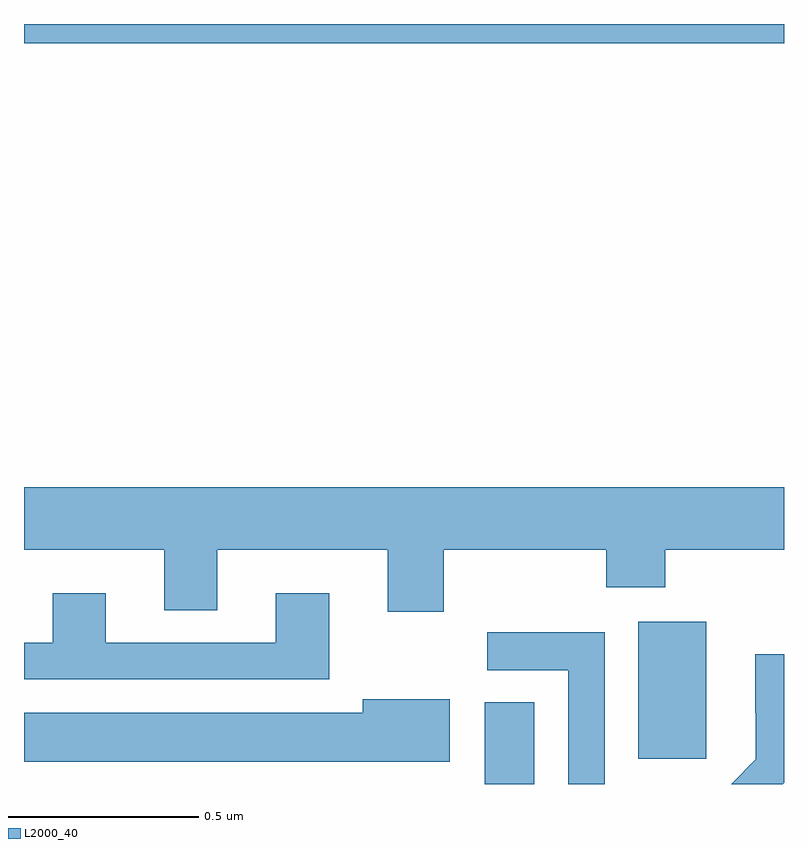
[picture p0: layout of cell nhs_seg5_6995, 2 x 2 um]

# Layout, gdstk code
import gdstk
lib = gdstk.Library(unit=1e-6, precision=1e-09)
def R(c, l, rs):  # rectangles x0, y0, x1, y1
    for r in rs: c.add(gdstk.rectangle(r[:2], r[2:], *l))
def P(c, l, *ps):  # polygons
    for p in ps: c.add(gdstk.Polygon(p, *l))
L2000_40 = (2000, 40)

nhs_seg5_6995 = lib.new_cell('nhs_seg5_6995')
R(nhs_seg5_6995, L2000_40, [(204.212,866.799,204.343,867.014), (204.617,866.865,204.796,867.226), (203,868.748,205,868.799)])
P(nhs_seg5_6995, L2000_40, [(204.105,867.416),(204.532,867.416),(204.532,867.317),(204.687,867.317),(204.687,867.416),(205,867.416),(205,867.58),(203,867.58),(203,867.416),(203.369,867.416),(203.369,867.256),(203.509,867.256),(203.509,867.416),(203.957,867.416),(203.957,867.252),(204.105,867.252)],
  [(203.803,867.301),(203.663,867.301),(203.663,867.171),(203.215,867.171),(203.215,867.301),(203.075,867.301),(203.075,867.171),(203,867.171),(203,867.075),(203.803,867.075)],
  [(204.528,867.198),(204.219,867.198),(204.219,867.099),(204.432,867.099),(204.432,866.799),(204.528,866.799)],
  [(205,866.802),(205,867.14),(204.924,867.14),(204.924,866.986),(204.926,866.986),(204.926,866.864),(204.861,866.799),(204.997,866.799)],
  [(204.121,867.022),(203.891,867.022),(203.891,866.986),(203,866.986),(203,866.858),(204.121,866.858)])

lib.write_gds('nhs_seg5_6995.gds')
